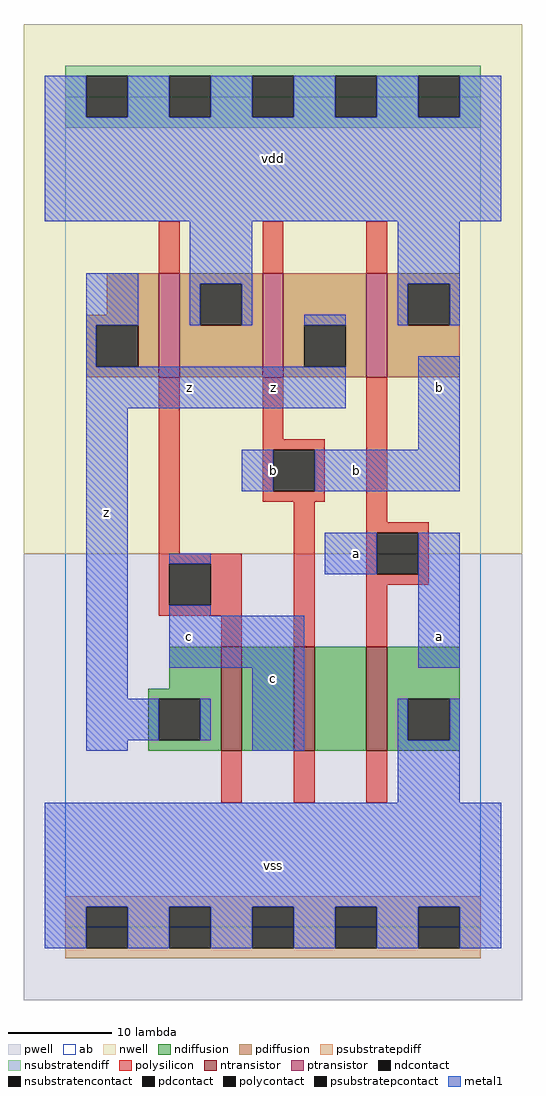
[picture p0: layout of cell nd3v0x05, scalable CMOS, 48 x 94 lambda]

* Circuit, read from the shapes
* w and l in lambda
.subckt nd3v0x05 a b c vdd vss z
M1 n1 c z vss nfet w=10 l=2
M2 n2 b n1 vss nfet w=10 l=2
M3 vss a n2 vss nfet w=10 l=2
M4 vdd c z vdd pfet w=10 l=2
M5 z b vdd vdd pfet w=10 l=2
M6 vdd a z vdd pfet w=10 l=2
.ends

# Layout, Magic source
magic
tech scmos
<< ab >>
rect 0 0 40 80
<< pwell >>
rect -4 -7 44 36
<< nwell >>
rect -4 36 44 87
<< polysilicon >>
rect 9 63 11 68
rect 19 63 21 68
rect 29 63 31 68
rect 9 36 11 53
rect 19 47 21 53
rect 19 46 25 47
rect 19 42 20 46
rect 24 42 25 46
rect 19 41 25 42
rect 9 35 17 36
rect 9 31 10 35
rect 14 31 17 35
rect 9 30 17 31
rect 15 27 17 30
rect 22 27 24 41
rect 29 39 31 53
rect 29 38 35 39
rect 29 34 30 38
rect 34 34 35 38
rect 29 33 35 34
rect 29 27 31 33
rect 15 12 17 17
rect 22 12 24 17
rect 29 12 31 17
<< ndiffusion >>
rect 10 23 15 27
rect 8 22 15 23
rect 8 18 9 22
rect 13 18 15 22
rect 8 17 15 18
rect 17 17 22 27
rect 24 17 29 27
rect 31 22 38 27
rect 31 18 33 22
rect 37 18 38 22
rect 31 17 38 18
<< pdiffusion >>
rect 4 59 9 63
rect 2 58 9 59
rect 2 54 3 58
rect 7 54 9 58
rect 2 53 9 54
rect 11 62 19 63
rect 11 58 13 62
rect 17 58 19 62
rect 11 53 19 58
rect 21 58 29 63
rect 21 54 23 58
rect 27 54 29 58
rect 21 53 29 54
rect 31 62 38 63
rect 31 58 33 62
rect 37 58 38 62
rect 31 53 38 58
<< metal1 >>
rect -2 78 2 82
rect 6 78 10 82
rect 14 78 18 82
rect 22 78 26 82
rect 30 78 34 82
rect 38 78 42 82
rect -2 68 42 78
rect 2 58 7 63
rect 12 62 18 68
rect 12 58 13 62
rect 17 58 18 62
rect 32 62 38 68
rect 23 58 27 59
rect 32 58 33 62
rect 37 58 38 62
rect 2 54 3 58
rect 2 50 27 54
rect 2 22 6 50
rect 34 46 38 55
rect 17 42 20 46
rect 24 42 38 46
rect 10 35 14 36
rect 25 34 30 38
rect 10 30 14 31
rect 10 25 23 30
rect 34 25 38 38
rect 2 18 9 22
rect 13 18 14 22
rect 2 17 6 18
rect 18 17 23 25
rect 32 18 33 22
rect 37 18 38 22
rect 32 12 38 18
rect -2 2 42 12
rect -2 -2 2 2
rect 6 -2 10 2
rect 14 -2 18 2
rect 22 -2 26 2
rect 30 -2 34 2
rect 38 -2 42 2
<< ntransistor >>
rect 15 17 17 27
rect 22 17 24 27
rect 29 17 31 27
<< ptransistor >>
rect 9 53 11 63
rect 19 53 21 63
rect 29 53 31 63
<< polycontact >>
rect 20 42 24 46
rect 10 31 14 35
rect 30 34 34 38
<< ndcontact >>
rect 9 18 13 22
rect 33 18 37 22
<< pdcontact >>
rect 3 54 7 58
rect 13 58 17 62
rect 23 54 27 58
rect 33 58 37 62
<< psubstratepcontact >>
rect 2 -2 6 2
rect 10 -2 14 2
rect 18 -2 22 2
rect 26 -2 30 2
rect 34 -2 38 2
<< nsubstratencontact >>
rect 2 78 6 82
rect 10 78 14 82
rect 18 78 22 82
rect 26 78 30 82
rect 34 78 38 82
<< psubstratepdiff >>
rect 0 2 40 3
rect 0 -2 2 2
rect 6 -2 10 2
rect 14 -2 18 2
rect 22 -2 26 2
rect 30 -2 34 2
rect 38 -2 40 2
rect 0 -3 40 -2
<< nsubstratendiff >>
rect 0 82 40 83
rect 0 78 2 82
rect 6 78 10 82
rect 14 78 18 82
rect 22 78 26 82
rect 30 78 34 82
rect 38 78 40 82
rect 0 77 40 78
<< labels >>
rlabel metal1 4 40 4 40 6 z
rlabel metal1 12 28 12 28 6 c
rlabel metal1 12 52 12 52 6 z
rlabel metal1 20 6 20 6 6 vss
rlabel metal1 20 24 20 24 6 c
rlabel metal1 28 36 28 36 6 a
rlabel metal1 28 44 28 44 6 b
rlabel metal1 20 44 20 44 6 b
rlabel metal1 20 52 20 52 6 z
rlabel metal1 20 74 20 74 6 vdd
rlabel metal1 36 28 36 28 6 a
rlabel metal1 36 52 36 52 6 b
<< end >>
